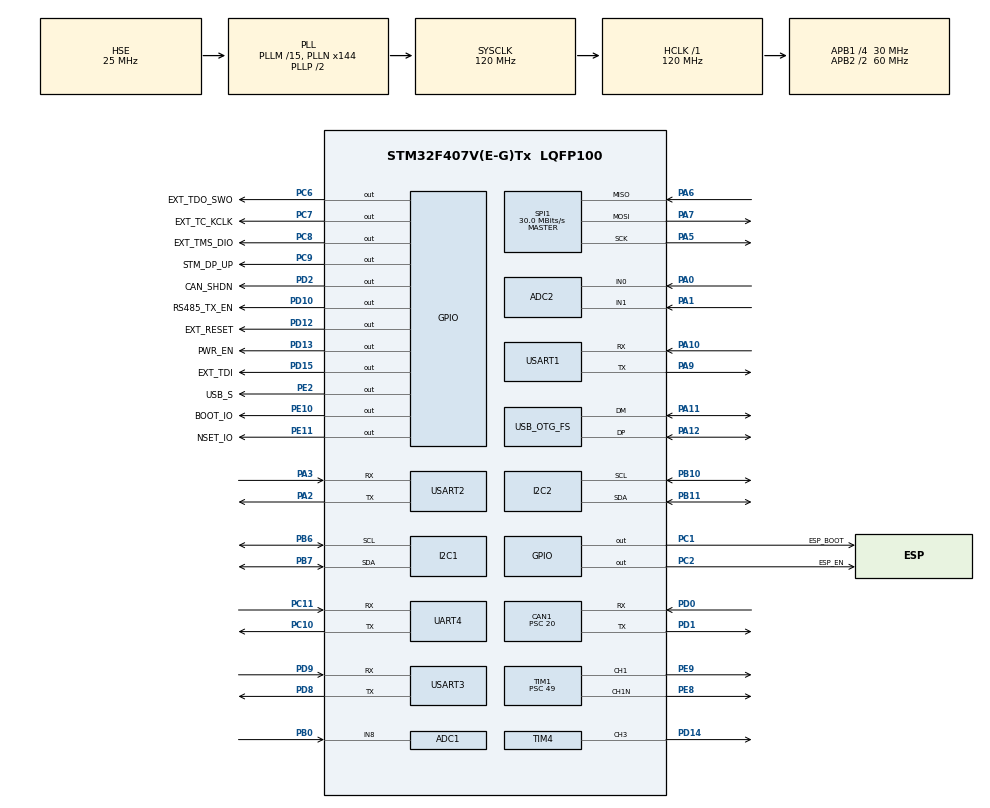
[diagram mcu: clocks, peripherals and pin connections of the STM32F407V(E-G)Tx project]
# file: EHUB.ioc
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ADC1.Channel-0\#ChannelRegularConversion=ADC_CHANNEL_8
ADC1.NbrOfConversionFlag=1
ADC1.Rank-0\#ChannelRegularConversion=1
ADC1.SamplingTime-0\#ChannelRegularConversion=ADC_SAMPLETIME_3CYCLES
ADC1.master=1
ADC2.Channel-1\#ChannelRegularConversion=ADC_CHANNEL_0
ADC2.NbrOfConversionFlag=1
ADC2.Rank-1\#ChannelRegularConversion=1
ADC2.SamplingTime-1\#ChannelRegularConversion=ADC_SAMPLETIME_3CYCLES
CAN1.CalculateBaudRate=499999
CAN1.CalculateTimeBit=2000
CAN1.CalculateTimeQuantum=666.6666666666667
CAN1.Prescaler=20
Dma.Request0=USART2_RX
Dma.Request1=USART2_TX
Dma.Request2=USART3_TX
Dma.Request3=USART3_RX
Dma.Request4=UART4_RX
Dma.Request5=UART4_TX
Dma.Request6=TIM4_CH3
Dma.Request7=USART1_TX
Dma.Request8=USART1_RX
Dma.TIM4_CH3.6.Direction=DMA_MEMORY_TO_PERIPH
Dma.TIM4_CH3.6.FIFOMode=DMA_FIFOMODE_DISABLE
Dma.TIM4_CH3.6.Instance=DMA1_Stream7
Dma.TIM4_CH3.6.MemDataAlignment=DMA_MDATAALIGN_HALFWORD
Dma.TIM4_CH3.6.MemInc=DMA_MINC_ENABLE
Dma.TIM4_CH3.6.Mode=DMA_NORMAL
Dma.TIM4_CH3.6.PeriphDataAlignment=DMA_PDATAALIGN_HALFWORD
Dma.TIM4_CH3.6.PeriphInc=DMA_PINC_DISABLE
Dma.TIM4_CH3.6.Priority=DMA_PRIORITY_HIGH
Dma.UART4_RX.4.Direction=DMA_PERIPH_TO_MEMORY
Dma.UART4_RX.4.FIFOMode=DMA_FIFOMODE_DISABLE
Dma.UART4_RX.4.Instance=DMA1_Stream2
Dma.UART4_RX.4.MemDataAlignment=DMA_MDATAALIGN_BYTE
Dma.UART4_RX.4.MemInc=DMA_MINC_ENABLE
Dma.UART4_RX.4.Mode=DMA_NORMAL
Dma.UART4_RX.4.PeriphDataAlignment=DMA_PDATAALIGN_BYTE
Dma.UART4_RX.4.PeriphInc=DMA_PINC_DISABLE
Dma.UART4_RX.4.Priority=DMA_PRIORITY_LOW
Dma.UART4_TX.5.Direction=DMA_MEMORY_TO_PERIPH
Dma.UART4_TX.5.FIFOMode=DMA_FIFOMODE_DISABLE
Dma.UART4_TX.5.Instance=DMA1_Stream4
Dma.UART4_TX.5.MemDataAlignment=DMA_MDATAALIGN_BYTE
Dma.UART4_TX.5.MemInc=DMA_MINC_ENABLE
Dma.UART4_TX.5.Mode=DMA_NORMAL
Dma.UART4_TX.5.PeriphDataAlignment=DMA_PDATAALIGN_BYTE
Dma.UART4_TX.5.PeriphInc=DMA_PINC_DISABLE
Dma.UART4_TX.5.Priority=DMA_PRIORITY_LOW
Dma.USART1_RX.8.Direction=DMA_PERIPH_TO_MEMORY
Dma.USART1_RX.8.FIFOMode=DMA_FIFOMODE_DISABLE
Dma.USART1_RX.8.Instance=DMA2_Stream2
Dma.USART1_RX.8.MemDataAlignment=DMA_MDATAALIGN_BYTE
Dma.USART1_RX.8.MemInc=DMA_MINC_ENABLE
Dma.USART1_RX.8.Mode=DMA_NORMAL
Dma.USART1_RX.8.PeriphDataAlignment=DMA_PDATAALIGN_BYTE
Dma.USART1_RX.8.PeriphInc=DMA_PINC_DISABLE
Dma.USART1_RX.8.Priority=DMA_PRIORITY_MEDIUM
Dma.USART1_TX.7.Direction=DMA_MEMORY_TO_PERIPH
Dma.USART1_TX.7.FIFOMode=DMA_FIFOMODE_DISABLE
Dma.USART1_TX.7.Instance=DMA2_Stream7
Dma.USART1_TX.7.MemDataAlignment=DMA_MDATAALIGN_BYTE
Dma.USART1_TX.7.MemInc=DMA_MINC_ENABLE
Dma.USART1_TX.7.Mode=DMA_NORMAL
Dma.USART1_TX.7.PeriphDataAlignment=DMA_PDATAALIGN_BYTE
Dma.USART1_TX.7.PeriphInc=DMA_PINC_DISABLE
Dma.USART1_TX.7.Priority=DMA_PRIORITY_MEDIUM
Dma.USART2_RX.0.Direction=DMA_PERIPH_TO_MEMORY
Dma.USART2_RX.0.FIFOMode=DMA_FIFOMODE_DISABLE
Dma.USART2_RX.0.Instance=DMA1_Stream5
Dma.USART2_RX.0.MemDataAlignment=DMA_MDATAALIGN_BYTE
Dma.USART2_RX.0.MemInc=DMA_MINC_ENABLE
Dma.USART2_RX.0.Mode=DMA_NORMAL
Dma.USART2_RX.0.PeriphDataAlignment=DMA_PDATAALIGN_BYTE
Dma.USART2_RX.0.PeriphInc=DMA_PINC_DISABLE
Dma.USART2_RX.0.Priority=DMA_PRIORITY_LOW
Dma.USART2_TX.1.Direction=DMA_MEMORY_TO_PERIPH
Dma.USART2_TX.1.FIFOMode=DMA_FIFOMODE_DISABLE
Dma.USART2_TX.1.Instance=DMA1_Stream6
Dma.USART2_TX.1.MemDataAlignment=DMA_MDATAALIGN_BYTE
Dma.USART2_TX.1.MemInc=DMA_MINC_ENABLE
Dma.USART2_TX.1.Mode=DMA_NORMAL
Dma.USART2_TX.1.PeriphDataAlignment=DMA_PDATAALIGN_BYTE
Dma.USART2_TX.1.PeriphInc=DMA_PINC_DISABLE
Dma.USART2_TX.1.Priority=DMA_PRIORITY_LOW
Dma.USART3_RX.3.Direction=DMA_PERIPH_TO_MEMORY
Dma.USART3_RX.3.FIFOMode=DMA_FIFOMODE_DISABLE
Dma.USART3_RX.3.Instance=DMA1_Stream1
Dma.USART3_RX.3.MemDataAlignment=DMA_MDATAALIGN_BYTE
Dma.USART3_RX.3.MemInc=DMA_MINC_ENABLE
Dma.USART3_RX.3.Mode=DMA_NORMAL
Dma.USART3_RX.3.PeriphDataAlignment=DMA_PDATAALIGN_BYTE
Dma.USART3_RX.3.PeriphInc=DMA_PINC_DISABLE
Dma.USART3_RX.3.Priority=DMA_PRIORITY_LOW
Dma.USART3_TX.2.Direction=DMA_MEMORY_TO_PERIPH
Dma.USART3_TX.2.FIFOMode=DMA_FIFOMODE_DISABLE
Dma.USART3_TX.2.Instance=DMA1_Stream3
Dma.USART3_TX.2.MemDataAlignment=DMA_MDATAALIGN_BYTE
Dma.USART3_TX.2.MemInc=DMA_MINC_ENABLE
Dma.USART3_TX.2.Mode=DMA_NORMAL
Dma.USART3_TX.2.PeriphDataAlignment=DMA_PDATAALIGN_BYTE
Dma.USART3_TX.2.PeriphInc=DMA_PINC_DISABLE
Dma.USART3_TX.2.Priority=DMA_PRIORITY_LOW
FREERTOS.Queues01=dataQueue,16,uint8_t,0,Dynamic,NULL,NULL
FREERTOS.Tasks01=defaultTask,24,128,StartDefaultTask,Default,NULL,Dynamic,NULL,NULL;myI2CTask,8,128,StartmyI2CTask,Default,NULL,Dynamic,NULL,NULL
FREERTOS.configLIBRARY_MAX_SYSCALL_INTERRUPT_PRIORITY=1
FREERTOS.configMAX_TASK_NAME_LEN=32
Mcu.Family=STM32F4
Mcu.Name=STM32F407V(E-G)Tx
Mcu.Package=LQFP100
NVIC.CAN1_RX0_IRQn=true\:1\:0\:false\:false\:true\:true\:true\:true\:true
NVIC.CAN1_RX1_IRQn=true\:1\:0\:false\:false\:true\:true\:true\:true\:true
NVIC.CAN1_TX_IRQn=true\:1\:0\:false\:false\:true\:true\:true\:true\:true
NVIC.DMA1_Stream1_IRQn=true\:1\:0\:false\:false\:true\:true\:false\:true\:true
NVIC.DMA1_Stream2_IRQn=true\:1\:0\:false\:false\:true\:true\:false\:true\:true
NVIC.DMA1_Stream3_IRQn=true\:1\:0\:false\:false\:true\:true\:false\:true\:true
NVIC.DMA1_Stream4_IRQn=true\:1\:0\:false\:false\:true\:true\:false\:true\:true
NVIC.DMA1_Stream5_IRQn=true\:1\:0\:false\:false\:true\:true\:false\:true\:true
NVIC.DMA1_Stream6_IRQn=true\:1\:0\:false\:false\:true\:true\:false\:true\:true
NVIC.DMA1_Stream7_IRQn=true\:1\:0\:false\:false\:true\:true\:false\:true\:true
NVIC.DMA2_Stream2_IRQn=true\:8\:0\:true\:false\:true\:true\:false\:true\:true
NVIC.DMA2_Stream7_IRQn=true\:8\:0\:true\:false\:true\:true\:false\:true\:true
NVIC.OTG_FS_IRQn=true\:1\:0\:false\:false\:true\:true\:false\:true\:true
NVIC.PriorityGroup=NVIC_PRIORITYGROUP_4
NVIC.TIM2_IRQn=true\:15\:0\:false\:false\:true\:false\:false\:true\:true
NVIC.TIM4_IRQn=true\:1\:0\:false\:false\:true\:true\:true\:true\:true
NVIC.TimeBase=TIM2_IRQn
NVIC.TimeBaseIP=TIM2
NVIC.UART4_IRQn=true\:1\:0\:false\:false\:true\:true\:false\:true\:true
NVIC.USART1_IRQn=true\:7\:0\:true\:false\:true\:true\:true\:true\:true
NVIC.USART2_IRQn=true\:1\:0\:false\:false\:true\:true\:true\:true\:true
NVIC.USART3_IRQn=true\:1\:0\:false\:false\:true\:true\:true\:true\:true
PA0-WKUP.Signal=ADCx_IN0
PA1.Signal=ADCx_IN1
PA10.Mode=Asynchronous
PA10.Signal=USART1_RX
PA11.Mode=Device_Only
PA11.Signal=USB_OTG_FS_DM
PA12.Mode=Device_Only
PA12.Signal=USB_OTG_FS_DP
PA13.Mode=Serial_Wire
PA13.Signal=SYS_JTMS-SWDIO
PA14.Mode=Serial_Wire
PA14.Signal=SYS_JTCK-SWCLK
PA2.Mode=Asynchronous
PA2.Signal=USART2_TX
PA3.Mode=Asynchronous
PA3.Signal=USART2_RX
PA5.Mode=Full_Duplex_Master
PA5.Signal=SPI1_SCK
PA6.Mode=Full_Duplex_Master
PA6.Signal=SPI1_MISO
PA7.Mode=Full_Duplex_Master
PA7.Signal=SPI1_MOSI
PA9.Mode=Asynchronous
PA9.Signal=USART1_TX
PB0.Signal=ADCx_IN8
PB10.Mode=I2C
PB10.Signal=I2C2_SCL
PB11.Mode=I2C
PB11.Signal=I2C2_SDA
PB6.Mode=I2C
PB6.Signal=I2C1_SCL
PB7.Mode=I2C
PB7.Signal=I2C1_SDA
PC1.GPIO_Label=ESP_BOOT
PC1.PinState=GPIO_PIN_SET
PC1.Signal=GPIO_Output
PC10.Mode=Asynchronous
PC10.Signal=UART4_TX
PC11.Mode=Asynchronous
PC11.Signal=UART4_RX
PC2.GPIO_Label=ESP_EN
PC2.PinState=GPIO_PIN_SET
PC2.Signal=GPIO_Output
PC6.GPIO_Label=EXT_TDO_SWO
PC6.Signal=GPIO_Output
PC7.GPIO_Label=EXT_TC_KCLK
PC7.Signal=GPIO_Output
PC8.GPIO_Label=EXT_TMS_DIO
PC8.Signal=GPIO_Output
PC9.GPIO_Label=STM_DP_UP
PC9.Signal=GPIO_Output
PD0.Mode=CAN_Activate
PD0.Signal=CAN1_RX
PD1.Mode=CAN_Activate
PD1.Signal=CAN1_TX
PD10.GPIO_Label=RS485_TX_EN
PD10.Signal=GPIO_Output
PD12.GPIO_Label=EXT_RESET
PD12.Signal=GPIO_Output
PD13.GPIO_Label=PWR_EN
PD13.PinState=GPIO_PIN_SET
PD13.Signal=GPIO_Output
PD14.Signal=S_TIM4_CH3
PD15.GPIO_Label=EXT_TDI
PD15.Signal=GPIO_Output
PD2.GPIO_Label=CAN_SHDN
PD2.Signal=GPIO_Output
PD8.Mode=Asynchronous
PD8.Signal=USART3_TX
PD9.Mode=Asynchronous
PD9.Signal=USART3_RX
PE10.GPIO_Label=BOOT_IO
PE10.Signal=GPIO_Output
PE11.GPIO_Label=NSET_IO
PE11.Signal=GPIO_Output
PE2.GPIO_Label=USB_S
PE2.Signal=GPIO_Output
PE8.Mode=Output Compare1 CH1 CH1N
PE8.Signal=TIM1_CH1N
PE9.Signal=S_TIM1_CH1
PH0-OSC_IN.Mode=HSE-External-Oscillator
PH0-OSC_IN.Signal=RCC_OSC_IN
PH1-OSC_OUT.Mode=HSE-External-Oscillator
PH1-OSC_OUT.Signal=RCC_OSC_OUT
ProjectManager.HeapSize=0x200
ProjectManager.StackSize=0x400
ProjectManager.TargetToolchain=MDK-ARM V5
RCC.48MHZClocksFreq_Value=48000000
RCC.AHBFreq_Value=120000000
RCC.APB1CLKDivider=RCC_HCLK_DIV4
RCC.APB1Freq_Value=30000000
RCC.APB1TimFreq_Value=60000000
RCC.APB2CLKDivider=RCC_HCLK_DIV2
RCC.APB2Freq_Value=60000000
RCC.APB2TimFreq_Value=120000000
RCC.CortexFreq_Value=120000000
RCC.HCLKFreq_Value=120000000
RCC.HSE_VALUE=25000000
RCC.HSI_VALUE=16000000
RCC.LSE_VALUE=32768
RCC.PLLM=15
RCC.PLLN=144
RCC.PLLQ=5
RCC.SYSCLKFreq_VALUE=120000000
RCC.SYSCLKSource=RCC_SYSCLKSOURCE_PLLCLK
RCC.VCOOutputFreq_Value=240000000
SH.ADCx_IN0.0=ADC2_IN0,IN0
SH.ADCx_IN1.0=ADC2_IN1,IN1
SH.ADCx_IN8.0=ADC1_IN8,IN8
SH.S_TIM1_CH1.0=TIM1_CH1,Output Compare1 CH1 CH1N
SH.S_TIM4_CH3.0=TIM4_CH3,PWM Generation3 CH3
SPI1.CalculateBaudRate=30.0 MBits/s
SPI1.Direction=SPI_DIRECTION_2LINES
SPI1.Mode=SPI_MODE_MASTER
SPI1.VirtualType=VM_MASTER
TIM1.Channel-Output\ Compare1\ CH1\ CH1N=TIM_CHANNEL_1
TIM1.Prescaler=49
TIM4.Channel-PWM\ Generation3\ CH3=TIM_CHANNEL_3
TIM4.Period=74
TIM4.Prescaler=0
UART4.VirtualMode=Asynchronous
USART1.VirtualMode=VM_ASYNC
USART2.VirtualMode=VM_ASYNC
USART3.VirtualMode=VM_ASYNC
USB_DEVICE.CLASS_NAME_FS=CUSTOM_HID
USB_DEVICE.CONFIGURATION_STRING_CUSTOMHID_FS=CMSIS-DAP Config
USB_DEVICE.CUSTOM_HID_FS_BINTERVAL=0x1
USB_DEVICE.INTERFACE_STRING_CUSTOMHID_FS=CMSIS-DAP Interface
USB_DEVICE.MANUFACTURER_STRING-CUSTOM_HID_FS=GenieKits
USB_DEVICE.PID_CUSTOMHID_FS=0x0204
USB_DEVICE.PRODUCT_STRING_CUSTOMHID_FS=cm CMSIS-DAP
USB_DEVICE.USBD_CUSTOMHID_OUTREPORT_BUF_SIZE-CUSTOM_HID_FS=64
USB_DEVICE.USBD_CUSTOM_HID_REPORT_DESC_SIZE-CUSTOM_HID_FS=32
USB_DEVICE.USBD_MAX_STR_DESC_SIZ-CUSTOM_HID_FS=24
USB_DEVICE.USBD_SELF_POWERED-CUSTOM_HID_FS=0
USB_DEVICE.VID-CUSTOM_HID_FS=0x0D28
USB_DEVICE.VirtualMode-CUSTOM_HID_FS=CustomHid
USB_DEVICE.VirtualModeFS=Custom_Hid_FS
USB_OTG_FS.VirtualMode=Device_Only
VP_FREERTOS_VS_CMSIS_V2.Mode=CMSIS_V2
VP_SYS_VS_tim2.Mode=TIM2
VP_USB_DEVICE_VS_USB_DEVICE_CUSTOM_HID_FS.Mode=CUSTOM_HID_FS
board=custom

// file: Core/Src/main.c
/* USER CODE BEGIN Header */
/**
  ******************************************************************************
  * @file           : main.c
  * @brief          : Main program body
  ******************************************************************************
  * @attention
  *
  * Copyright (c) 2025 STMicroelectronics.
  * All rights reserved.
  *
  * This software is licensed under terms that can be found in the LICENSE file
  * in the root directory of this software component.
  * If no LICENSE file comes with this software, it is provided AS-IS.
  *
  ******************************************************************************
  */
/* USER CODE END Header */
#include "main.h"
#include "cmsis_os.h"
#include "adc.h"
#include "can.h"
#include "dma.h"
#include "i2c.h"
#include "spi.h"
#include "tim.h"
#include "usart.h"
#include "usb_device.h"
#include "gpio.h"

/* USER CODE BEGIN Includes */
# include "ws2812c.h"
#include "usbd_custom_hid_if.h"
# include "dap.h"
# include "dap_config.h"
# include "dap_app.h"
# include "printf_app.h"
# include "ehub_boot.h"
/* USER CODE END Includes */

/* USER CODE BEGIN PTD */
/* (HID_REPORT_* / USBD_HID_REQ_* defines 已移至 dap_app.c) */
/* USER CODE END PTD */

/* USER CODE BEGIN PM */
/* (USB_Request/Response 缓冲区及相关变量已移至 dap_app.c) */
/* USER CODE END PM */

/* USER CODE BEGIN PV */

//int32_t USBD_HID0_GetReport (uint8_t rtype, uint8_t req, uint8_t rid, uint8_t *buf) {
//  (void)rid;

//  switch (rtype) {
//    case HID_REPORT_INPUT:
//      switch (req) {
//        case USBD_HID_REQ_EP_CTRL:        // Explicit USB Host request via Control OUT Endpoint
//        case USBD_HID_REQ_PERIOD_UPDATE:  // Periodic USB Host request via Interrupt OUT Endpoint
//          break;
//        case USBD_HID_REQ_EP_INT:         // Called after USBD_HID_GetReportTrigger to signal data obtained.
//          if (USB_ResponseCountI != USB_ResponseCountO) {
//            // Load data from response buffer to be sent back
//            memcpy(buf, USB_Response[USB_ResponseIndexO], DAP_PACKET_SIZE);
//            USB_ResponseIndexO++;
//            if (USB_ResponseIndexO == DAP_PACKET_COUNT) {
//              USB_ResponseIndexO = 0U;
//            }
//            USB_ResponseCountO++;
//            return ((int32_t)DAP_PACKET_SIZE);
//          } else {
//            USB_ResponseIdle = 1U;
//          }
//          break;
//      }
//      break;
//    case HID_REPORT_FEATURE:
//      break;
//  }
//  return (0);
//}
//uint8_t USBD_HID0_SetReport (uint8_t rtype, uint8_t req, uint8_t rid, const uint8_t *buf, int32_t len) {
//  (void)req;
//  (void)rid;

//  switch (rtype) {
//    case HID_REPORT_OUTPUT:
//      if (len == 0) {
//        break;
//      }
//      if (buf[0] == ID_DAP_TransferAbort) {
//        DAP_TransferAbort = 1U;
//        break;
//      }
//      if ((uint16_t)(USB_RequestCountI - USB_RequestCountO) == DAP_PACKET_COUNT) {
//        osThreadFlagsSet(DAP_ThreadId, 0x80U);
//        break;  // Discard packet when buffer is full
//      }
//      // Store received data into request buffer
//      memcpy(USB_Request[USB_RequestIndexI], buf, (uint32_t)len);
//      USB_RequestIndexI++;
//      if (USB_RequestIndexI == DAP_PACKET_COUNT) {
//        USB_RequestIndexI = 0U;
//      }
//      USB_RequestCountI++;
//      osThreadFlagsSet(DAP_ThreadId, 0x01U);
//      break;
//    case HID_REPORT_FEATURE:
//      break;
//  }
//  return 1;
//}

//void USBD_HID0_Initialize (void) {
//  // Initialize variables
//  USB_RequestIndexI  = 0U;
//  USB_RequestIndexO  = 0U;
//  USB_RequestCountI  = 0U;
//  USB_RequestCountO  = 0U;
//  USB_ResponseIndexI = 0U;
//  USB_ResponseIndexO = 0U;
//  USB_ResponseCountI = 0U;
//  USB_ResponseCountO = 0U;
//  USB_ResponseIdle   = 1U;
//}

//void USBD_InEvent(void)
//{
//  int32_t len;

//  USBD_CUSTOM_HID_HandleTypeDef *hhid = (USBD_CUSTOM_HID_HandleTypeDef *)hUsbDeviceFS.pClassData;
//  if ((len=USBD_HID0_GetReport(HID_REPORT_INPUT, USBD_HID_REQ_EP_INT, 0, hhid->Report_buf)) > 0)
//  {
//    USBD_CUSTOM_HID_SendReport(&hUsbDeviceFS, hhid->Report_buf, len);
//  }
//}

//void USBD_OutEvent(void)
//{
//  USBD_CUSTOM_HID_HandleTypeDef *hhid = (USBD_CUSTOM_HID_HandleTypeDef *)hUsbDeviceFS.pClassData;
//  USBD_HID0_SetReport(HID_REPORT_OUTPUT, 0, 0, hhid->Report_buf, USBD_CUSTOMHID_OUTREPORT_BUF_SIZE);
//}
/* (USBD_HID0_GetReport / SetReport / Initialize、USBD_InEvent / OutEvent、
   DAP_Test_HaltCPU 均已迁移到 app/Src/dap_app.c，此处不再重复定义) */
/* USER CODE END PV */

void SystemClock_Config(void);
void MX_FREERTOS_Init(void);

int main(void)
{

  /* MCU Configuration--------------------------------------------------------*/

  /* Reset of all peripherals, Initializes the Flash interface and the Systick. */
  SCB->VTOR = EHUB_APP_START_ADDR;
  HAL_Init();

  /* Configure the system clock */
  SystemClock_Config();

  /* Initialize all configured peripherals */
  MX_GPIO_Init();
  MX_DMA_Init();
  MX_ADC1_Init();
  MX_CAN1_Init();
  MX_ADC2_Init();
  MX_I2C1_Init();
  MX_I2C2_Init();
  MX_SPI1_Init();
  MX_USART2_UART_Init();
  MX_USART3_UART_Init();
  MX_TIM1_Init();
  MX_UART4_Init();
  MX_USART1_UART_Init();
  MX_TIM4_Init();
  /* USER CODE BEGIN 2 */
	HAL_GPIO_WritePin(GPIOE, USB_S_Pin|BOOT_IO_Pin|NSET_IO_Pin, GPIO_PIN_SET);
	HAL_Delay(50);
	WS2812C_Init();        /* 初始化 RGB LED */
	/* Enable DWT cycle counter (供 DAP 使用) */
	CoreDebug->DEMCR |= CoreDebug_DEMCR_TRCENA_Msk;
	DWT->CYCCNT = 0;
	DWT->CTRL |= DWT_CTRL_CYCCNTENA_Msk;
	DAP_Setup();           /* CMSIS-DAP SWD 引脚初始化 */
	/* MX_USB_DEVICE_Init / Bridge_Init / USBD_HID0_Initialize / StartDAPTask
	   均在 FreeRTOS 的 StartDefaultTask 中完成，不在这里调用，
	   否则 FreeRTOS 永远无法启动！ */
  /* USER CODE END 2 */

  /* Init scheduler */
  osKernelInitialize();

  /* Call init function for freertos objects (in cmsis_os2.c) */
  MX_FREERTOS_Init();

  /* Start scheduler */
  osKernelStart();

  /* We should never get here as control is now taken by the scheduler */

  /* Infinite loop */
  while (1)
  {

  }
}

void SystemClock_Config(void)
{
  RCC_OscInitTypeDef RCC_OscInitStruct = {0};
  RCC_ClkInitTypeDef RCC_ClkInitStruct = {0};

  /** Configure the main internal regulator output voltage
  */
  __HAL_RCC_PWR_CLK_ENABLE();
  __HAL_PWR_VOLTAGESCALING_CONFIG(PWR_REGULATOR_VOLTAGE_SCALE1);

  /** Initializes the RCC Oscillators according to the specified parameters
  * in the RCC_OscInitTypeDef structure.
  */
  RCC_OscInitStruct.OscillatorType = RCC_OSCILLATORTYPE_HSE;
  RCC_OscInitStruct.HSEState = RCC_HSE_ON;
  RCC_OscInitStruct.PLL.PLLState = RCC_PLL_ON;
  RCC_OscInitStruct.PLL.PLLSource = RCC_PLLSOURCE_HSE;
  RCC_OscInitStruct.PLL.PLLM = 15;
  RCC_OscInitStruct.PLL.PLLN = 144;
  RCC_OscInitStruct.PLL.PLLP = RCC_PLLP_DIV2;
  RCC_OscInitStruct.PLL.PLLQ = 5;
  if (HAL_RCC_OscConfig(&RCC_OscInitStruct) != HAL_OK)
  {
    Error_Handler();
  }

  /** Initializes the CPU, AHB and APB buses clocks
  */
  RCC_ClkInitStruct.ClockType = RCC_CLOCKTYPE_HCLK|RCC_CLOCKTYPE_SYSCLK
                              |RCC_CLOCKTYPE_PCLK1|RCC_CLOCKTYPE_PCLK2;
  RCC_ClkInitStruct.SYSCLKSource = RCC_SYSCLKSOURCE_PLLCLK;
  RCC_ClkInitStruct.AHBCLKDivider = RCC_SYSCLK_DIV1;
  RCC_ClkInitStruct.APB1CLKDivider = RCC_HCLK_DIV4;
  RCC_ClkInitStruct.APB2CLKDivider = RCC_HCLK_DIV2;

  if (HAL_RCC_ClockConfig(&RCC_ClkInitStruct, FLASH_LATENCY_3) != HAL_OK)
  {
    Error_Handler();
  }
}

void HAL_TIM_PeriodElapsedCallback(TIM_HandleTypeDef *htim)
{
  if (htim->Instance == TIM2)
  {
    HAL_IncTick();
  }
}

void Error_Handler(void)
{
  __disable_irq();
  while (1)
  {
  }
}

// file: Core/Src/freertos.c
/* USER CODE BEGIN Header */
/**
  ******************************************************************************
  * File Name          : freertos.c
  * Description        : Code for freertos applications
  ******************************************************************************
  * @attention
  *
  * Copyright (c) 2025 STMicroelectronics.
  * All rights reserved.
  *
  * This software is licensed under terms that can be found in the LICENSE file
  * in the root directory of this software component.
  * If no LICENSE file comes with this software, it is provided AS-IS.
  *
  ******************************************************************************
  */
/* USER CODE END Header */

#include "FreeRTOS.h"
#include "task.h"
#include "main.h"
#include "cmsis_os.h"

/* USER CODE BEGIN Includes */
#include "usb_app.h"
#include "dap_app.h"
#include "ws2812c.h"
#include "battery_app.h"
/* USER CODE END Includes */

/* Definitions for defaultTask */
osThreadId_t defaultTaskHandle;
const osThreadAttr_t defaultTask_attributes = {
  .name = "defaultTask",
  .stack_size = 128 * 4,
  .priority = (osPriority_t) osPriorityNormal,
};
/* Definitions for myI2CTask */
osThreadId_t myI2CTaskHandle;
const osThreadAttr_t myI2CTask_attributes = {
  .name = "myI2CTask",
  .stack_size = 128 * 4,
  .priority = (osPriority_t) osPriorityLow,
};
/* Definitions for dataQueue */
osMessageQueueId_t dataQueueHandle;
const osMessageQueueAttr_t dataQueue_attributes = {
  .name = "dataQueue"
};

void StartDefaultTask(void *argument);
void StartmyI2CTask(void *argument);

extern void MX_USB_DEVICE_Init(void);
void MX_FREERTOS_Init(void); /* (MISRA C 2004 rule 8.1) */

void MX_FREERTOS_Init(void) {

  /* Create the queue(s) */
  /* creation of dataQueue */
  dataQueueHandle = osMessageQueueNew (16, sizeof(uint8_t), &dataQueue_attributes);

  /* Create the thread(s) */
  /* creation of defaultTask */
  defaultTaskHandle = osThreadNew(StartDefaultTask, NULL, &defaultTask_attributes);

  /* creation of myI2CTask */
  myI2CTaskHandle = osThreadNew(StartmyI2CTask, NULL, &myI2CTask_attributes);

}

void StartDefaultTask(void *argument)
{
  /* init code for USB_DEVICE */
  MX_USB_DEVICE_Init();
  /* USER CODE BEGIN StartDefaultTask */
  /* 1. 初始化 CMSIS-DAP HID 缓冲区，必须在 USB 启动后立即调用 */
  USBD_HID0_Initialize();

  /* 2. 初始化 CDC↔总线桥接（创建 FreeRTOS 队列 + Bridge_Task） */
  Bridge_Init();

  /* 3. 创建 CMSIS-DAP 处理任务 */
  static const osThreadAttr_t dap_task_attrs = {
      .name       = "DAPTask",
      .stack_size = 1024U * 4U,
      .priority   = (osPriority_t)osPriorityAboveNormal,
  };
  osThreadNew(StartDAPTask, NULL, &dap_task_attrs);

  /* 4. 启动电池电量检测任务 */
  static const osThreadAttr_t bat_task_attrs = {
      .name       = "BatTask",
      .stack_size = 256U * 4U,
      .priority   = (osPriority_t)osPriorityBelowNormal,
  };
  osThreadNew(StartBatteryTask, NULL, &bat_task_attrs);

  /* 5. LED 群显示系统就绪 (RGB绿色) */
  WS2812C_SetSingleColor(1, 0, 25, 0);
  WS2812C_Update();

  /* Infinite loop */
  for(;;)
  {
    osDelay(100);
  }
  /* USER CODE END StartDefaultTask */
}

void StartmyI2CTask(void *argument)
{
  for(;;)
  {
    osDelay(1);
  }
}
